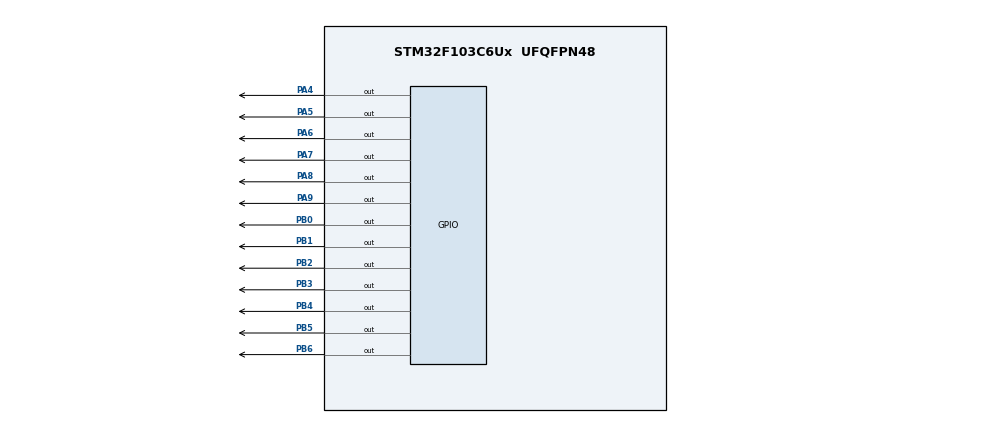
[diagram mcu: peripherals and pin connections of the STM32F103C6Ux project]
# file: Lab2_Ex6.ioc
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Mcu.Family=STM32F1
Mcu.Name=STM32F103C6Ux
Mcu.Package=UFQFPN48
NVIC.PriorityGroup=NVIC_PRIORITYGROUP_4
NVIC.TIM2_IRQn=true\:0\:0\:false\:false\:true\:true\:true
PA4.Signal=GPIO_Output
PA5.Signal=GPIO_Output
PA6.Signal=GPIO_Output
PA7.Signal=GPIO_Output
PA8.Signal=GPIO_Output
PA9.Signal=GPIO_Output
PB0.Signal=GPIO_Output
PB1.Signal=GPIO_Output
PB2.Signal=GPIO_Output
PB3.Signal=GPIO_Output
PB4.Signal=GPIO_Output
PB5.Signal=GPIO_Output
PB6.Signal=GPIO_Output
ProjectManager.HeapSize=0x200
ProjectManager.StackSize=0x400
ProjectManager.TargetToolchain=STM32CubeIDE
RCC.APB1Freq_Value=8000000
RCC.APB2Freq_Value=8000000
TIM2.Period=9
TIM2.Prescaler=7999
VP_SYS_VS_ND.Mode=No_Debug
VP_TIM2_VS_ClockSourceINT.Mode=Internal
board=custom

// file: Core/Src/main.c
/* USER CODE BEGIN Header */
/**
  ******************************************************************************
  * @file           : main.c
  * @brief          : Main program body
  ******************************************************************************
  * @attention
  *
  * <h2><center>&copy; Copyright (c) 2022 STMicroelectronics.
  * All rights reserved.</center></h2>
  *
  * This software component is licensed by ST under BSD 3-Clause license,
  * the "License"; You may not use this file except in compliance with the
  * License. You may obtain a copy of the License at:
  *                        opensource.org/licenses/BSD-3-Clause
  *
  ******************************************************************************
  */
/* USER CODE END Header */
#include "main.h"

/* USER CODE BEGIN Includes */
#include "Led7segment.h"
#include "Update7Seg.h"
#include "updateClockBuffer.h"
#include "SoftwareTimer.h"
/* USER CODE END Includes */

TIM_HandleTypeDef htim2;

void SystemClock_Config(void);
static void MX_GPIO_Init(void);
static void MX_TIM2_Init(void);

/* USER CODE BEGIN 0 */
const int MAX_LED = 4;
int index_led = 0;
int led_buffer [4];
int hour,minute,second;

/* USER CODE END 0 */

int main(void)
{

  /* MCU Configuration--------------------------------------------------------*/

  /* Reset of all peripherals, Initializes the Flash interface and the Systick. */
  HAL_Init();

  /* Configure the system clock */
  SystemClock_Config();

  /* Initialize all configured peripherals */
  MX_GPIO_Init();
  MX_TIM2_Init();
  /* USER CODE BEGIN 2 */
  HAL_TIM_Base_Start_IT (& htim2 );
  /* USER CODE END 2 */

  /* Infinite loop */
  while (1)
  {

    /* USER CODE BEGIN 3 */
	  if( timer0_flag == 1) {

		  second ++;
		  	  if( second >= 60) {
		  		  second = 0;
		  		  minute ++;
		  	  }
		  	  if( minute >= 60) {
		  		  minute = 0;
		  		  hour ++;
		  	  }
		  	  if( hour >=24) {
		  		  hour = 0;
		  	  }
		  	  updateClockBuffer () ;
			  update7SEG(index_led++);

		  setTimer0 (100) ;

	  }

  }
  /* USER CODE END 3 */
}

void SystemClock_Config(void)
{
  RCC_OscInitTypeDef RCC_OscInitStruct = {0};
  RCC_ClkInitTypeDef RCC_ClkInitStruct = {0};

  /** Initializes the RCC Oscillators according to the specified parameters
  * in the RCC_OscInitTypeDef structure.
  */
  RCC_OscInitStruct.OscillatorType = RCC_OSCILLATORTYPE_HSI;
  RCC_OscInitStruct.HSIState = RCC_HSI_ON;
  RCC_OscInitStruct.HSICalibrationValue = RCC_HSICALIBRATION_DEFAULT;
  RCC_OscInitStruct.PLL.PLLState = RCC_PLL_NONE;
  if (HAL_RCC_OscConfig(&RCC_OscInitStruct) != HAL_OK)
  {
    Error_Handler();
  }
  /** Initializes the CPU, AHB and APB buses clocks
  */
  RCC_ClkInitStruct.ClockType = RCC_CLOCKTYPE_HCLK|RCC_CLOCKTYPE_SYSCLK
                              |RCC_CLOCKTYPE_PCLK1|RCC_CLOCKTYPE_PCLK2;
  RCC_ClkInitStruct.SYSCLKSource = RCC_SYSCLKSOURCE_HSI;
  RCC_ClkInitStruct.AHBCLKDivider = RCC_SYSCLK_DIV1;
  RCC_ClkInitStruct.APB1CLKDivider = RCC_HCLK_DIV1;
  RCC_ClkInitStruct.APB2CLKDivider = RCC_HCLK_DIV1;

  if (HAL_RCC_ClockConfig(&RCC_ClkInitStruct, FLASH_LATENCY_0) != HAL_OK)
  {
    Error_Handler();
  }
}

static void MX_TIM2_Init(void)
{

  TIM_ClockConfigTypeDef sClockSourceConfig = {0};
  TIM_MasterConfigTypeDef sMasterConfig = {0};

  htim2.Instance = TIM2;
  htim2.Init.Prescaler = 7999;
  htim2.Init.CounterMode = TIM_COUNTERMODE_UP;
  htim2.Init.Period = 9;
  htim2.Init.ClockDivision = TIM_CLOCKDIVISION_DIV1;
  htim2.Init.AutoReloadPreload = TIM_AUTORELOAD_PRELOAD_DISABLE;
  if (HAL_TIM_Base_Init(&htim2) != HAL_OK)
  {
    Error_Handler();
  }
  sClockSourceConfig.ClockSource = TIM_CLOCKSOURCE_INTERNAL;
  if (HAL_TIM_ConfigClockSource(&htim2, &sClockSourceConfig) != HAL_OK)
  {
    Error_Handler();
  }
  sMasterConfig.MasterOutputTrigger = TIM_TRGO_RESET;
  sMasterConfig.MasterSlaveMode = TIM_MASTERSLAVEMODE_DISABLE;
  if (HAL_TIMEx_MasterConfigSynchronization(&htim2, &sMasterConfig) != HAL_OK)
  {
    Error_Handler();
  }

}

static void MX_GPIO_Init(void)
{
  GPIO_InitTypeDef GPIO_InitStruct = {0};

  /* GPIO Ports Clock Enable */
  __HAL_RCC_GPIOA_CLK_ENABLE();
  __HAL_RCC_GPIOB_CLK_ENABLE();

  /*Configure GPIO pin Output Level */
  HAL_GPIO_WritePin(GPIOA, GPIO_PIN_4|GPIO_PIN_5|GPIO_PIN_6|GPIO_PIN_7
                          |GPIO_PIN_8|GPIO_PIN_9, GPIO_PIN_RESET);

  /*Configure GPIO pin Output Level */
  HAL_GPIO_WritePin(GPIOB, GPIO_PIN_0|GPIO_PIN_1|GPIO_PIN_2|GPIO_PIN_3
                          |GPIO_PIN_4|GPIO_PIN_5|GPIO_PIN_6, GPIO_PIN_RESET);

  /*Configure GPIO pins : PA4 PA5 PA6 PA7
                           PA8 PA9 */
  GPIO_InitStruct.Pin = GPIO_PIN_4|GPIO_PIN_5|GPIO_PIN_6|GPIO_PIN_7
                          |GPIO_PIN_8|GPIO_PIN_9;
  GPIO_InitStruct.Mode = GPIO_MODE_OUTPUT_PP;
  GPIO_InitStruct.Pull = GPIO_NOPULL;
  GPIO_InitStruct.Speed = GPIO_SPEED_FREQ_LOW;
  HAL_GPIO_Init(GPIOA, &GPIO_InitStruct);

  /*Configure GPIO pins : PB0 PB1 PB2 PB3
                           PB4 PB5 PB6 */
  GPIO_InitStruct.Pin = GPIO_PIN_0|GPIO_PIN_1|GPIO_PIN_2|GPIO_PIN_3
                          |GPIO_PIN_4|GPIO_PIN_5|GPIO_PIN_6;
  GPIO_InitStruct.Mode = GPIO_MODE_OUTPUT_PP;
  GPIO_InitStruct.Pull = GPIO_NOPULL;
  GPIO_InitStruct.Speed = GPIO_SPEED_FREQ_LOW;
  HAL_GPIO_Init(GPIOB, &GPIO_InitStruct);

}

/* USER CODE BEGIN 4 */
void HAL_TIM_PeriodElapsedCallback ( TIM_HandleTypeDef * htim ){
	timer_run();

}
/* USER CODE END 4 */

void Error_Handler(void)
{
  __disable_irq();
  while (1)
  {
  }
}

/************************ (C) COPYRIGHT STMicroelectronics *****END OF FILE****/
